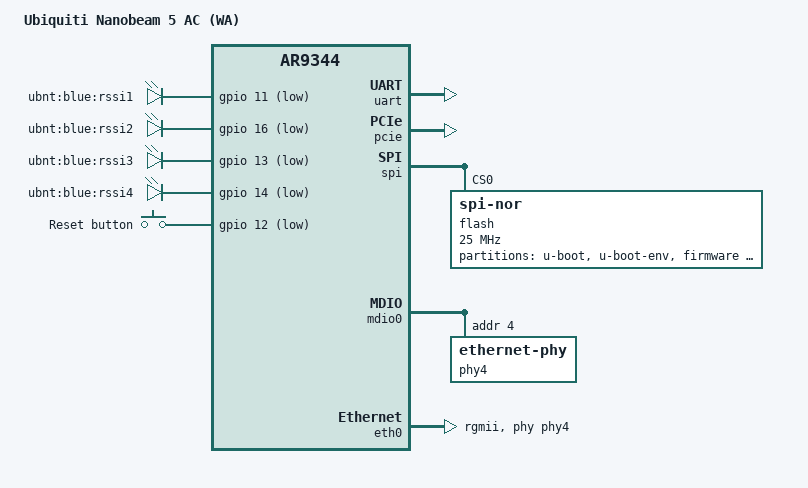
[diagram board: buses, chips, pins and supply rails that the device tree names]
// SPDX-License-Identifier: GPL-2.0
/dts-v1/;

#include <dt-bindings/gpio/gpio.h>
#include <dt-bindings/input/input.h>

#include "ar9344.dtsi"

/ {
	compatible = "ubnt,nanobeam-5-ac", "qca,ar9344";
	model = "Ubiquiti Nanobeam 5 AC (WA)";
	
	leds {
		compatible = "gpio-leds";

		rssi1 {
			label = "ubnt:blue:rssi1";
			gpios = <&gpio 11 GPIO_ACTIVE_LOW>;
			default-state = "off";
		};

		rssi2 {
			label = "ubnt:blue:rssi2";
			gpios = <&gpio 16 GPIO_ACTIVE_LOW>;
			default-state = "off";
		};

		rssi3 {
			label = "ubnt:blue:rssi3";
			gpios = <&gpio 13 GPIO_ACTIVE_LOW>;
			default-state = "off";
		};

		rssi4 {
			label = "ubnt:blue:rssi4";
			gpios = <&gpio 14 GPIO_ACTIVE_LOW>;
			default-state = "off";
		};
	};

	keys {
		compatible = "gpio-keys";
		#address-cells = <1>;
		#size-cells = <0>;

		reset {
			label = "Reset button";
			linux,code = <KEY_RESTART>;
			gpios = <&gpio 12 GPIO_ACTIVE_LOW>;
			debounce-interval = <60>;
		};
	};
};

&ref {
	clock-frequency = <25000000>;
};

&uart {
	status = "okay";
};

&gpio {
	status = "okay";
};

&pcie {
	status = "okay";
};

&spi {
	status = "okay";
	num-cs = <1>;

	flash@0 {
		#address-cells = <1>;
		#size-cells = <1>;
		compatible = "jedec,spi-nor";
		reg = <0>;
		spi-max-frequency = <25000000>;

		partitions {
			compatible = "fixed-partitions";
			#address-cells = <1>;
			#size-cells = <1>;

			partition@0 {
				label = "u-boot";
				reg = <0x000000 0x040000>;
				read-only;
			};

			partition@40000 {
				label = "u-boot-env";
				reg = <0x040000 0x010000>;
				read-only;
			};

			partition@50000 {
				label = "firmware";
				reg = <0x050000 0xf60000>;
			};

			partition@fb0000 {
				label = "cfg";
				reg = <0xfb0000 0x040000>;
				read-only;
			};

			eeprom: partition@ff0000 {
				label = "EEPROM";
				reg = <0xff0000 0x010000>;
				read-only;
			};
		};
	};
};

&mdio0 {
	status = "okay";

	phy-mask = <4>;
	phy4: ethernet-phy@4 {
		phy-mode = "rgmii";
		reg = <4>;
	};
};

&eth0 {
	status = "okay";

	/* default for ar934x, except for 1000M and 10M */
	pll-data = <0x06000000 0x00000101 0x00001313>;

	mtd-mac-address = <&eeprom 0x0>;

	phy-mode = "rgmii";
	phy-handle = <&phy4>;
};

&wmac {
	status = "disabled";
	mtd-mac-address = <&eeprom 0x0>;
};
